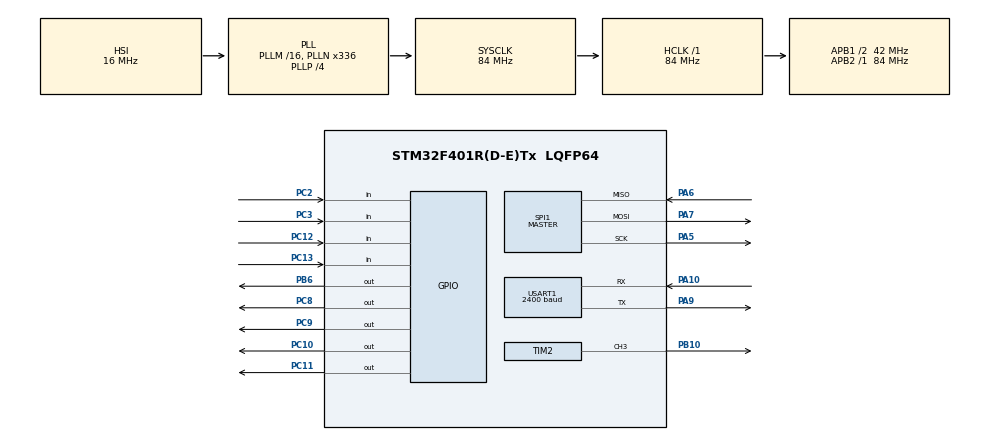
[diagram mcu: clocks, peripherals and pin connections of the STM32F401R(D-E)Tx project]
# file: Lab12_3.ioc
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Dma.Request0=SPI1_TX
Dma.SPI1_TX.0.Direction=DMA_MEMORY_TO_PERIPH
Dma.SPI1_TX.0.FIFOMode=DMA_FIFOMODE_DISABLE
Dma.SPI1_TX.0.Instance=DMA2_Stream3
Dma.SPI1_TX.0.MemDataAlignment=DMA_MDATAALIGN_BYTE
Dma.SPI1_TX.0.MemInc=DMA_MINC_ENABLE
Dma.SPI1_TX.0.Mode=DMA_NORMAL
Dma.SPI1_TX.0.PeriphDataAlignment=DMA_PDATAALIGN_BYTE
Dma.SPI1_TX.0.PeriphInc=DMA_PINC_DISABLE
Dma.SPI1_TX.0.Priority=DMA_PRIORITY_LOW
Mcu.Family=STM32F4
Mcu.Name=STM32F401R(D-E)Tx
Mcu.Package=LQFP64
NVIC.DMA2_Stream3_IRQn=true\:0\:0\:false\:false\:true\:false\:true\:true
NVIC.PriorityGroup=NVIC_PRIORITYGROUP_4
NVIC.SPI1_IRQn=true\:0\:0\:false\:false\:true\:true\:true\:true
NVIC.TIM3_IRQn=true\:2\:0\:true\:false\:true\:true\:true\:true
NVIC.TIM4_IRQn=true\:0\:0\:false\:false\:true\:true\:true\:true
NVIC.TIM5_IRQn=true\:1\:0\:true\:false\:true\:true\:true\:true
NVIC.USART1_IRQn=true\:0\:0\:false\:false\:true\:true\:true\:true
PA10.Mode=Asynchronous
PA10.Signal=USART1_RX
PA13.GPIO_Label=TMS
PA13.Mode=Trace_Asynchronous_SW
PA13.Signal=SYS_JTMS-SWDIO
PA14.GPIO_Label=TCK
PA14.Mode=Trace_Asynchronous_SW
PA14.Signal=SYS_JTCK-SWCLK
PA5.Mode=Full_Duplex_Master
PA5.Signal=SPI1_SCK
PA6.Mode=Full_Duplex_Master
PA6.Signal=SPI1_MISO
PA7.Mode=Full_Duplex_Master
PA7.Signal=SPI1_MOSI
PA9.Mode=Asynchronous
PA9.Signal=USART1_TX
PB10.Signal=S_TIM2_CH3
PB3.GPIO_Label=SWO
PB3.Mode=Trace_Asynchronous_SW
PB3.Signal=SYS_JTDO-SWO
PB6.Signal=GPIO_Output
PC10.Signal=GPIO_Output
PC11.Signal=GPIO_Output
PC12.Signal=GPIO_Input
PC13-ANTI_TAMP.Signal=GPIO_Input
PC14-OSC32_IN.Mode=LSE-External-Oscillator
PC14-OSC32_IN.Signal=RCC_OSC32_IN
PC15-OSC32_OUT.Mode=LSE-External-Oscillator
PC15-OSC32_OUT.Signal=RCC_OSC32_OUT
PC2.Signal=GPIO_Input
PC3.Signal=GPIO_Input
PC8.Signal=GPIO_Output
PC9.Signal=GPIO_Output
PH0\ -\ OSC_IN.Mode=HSE-External-Clock-Source
PH0\ -\ OSC_IN.Signal=RCC_OSC_IN
PH1\ -\ OSC_OUT.Mode=HSE-External-Clock-Source
PH1\ -\ OSC_OUT.Signal=RCC_OSC_OUT
ProjectManager.HeapSize=0x200
ProjectManager.StackSize=0x400
ProjectManager.TargetToolchain=STM32CubeIDE
RCC.48MHZClocksFreq_Value=48000000
RCC.AHBFreq_Value=84000000
RCC.APB1CLKDivider=RCC_HCLK_DIV2
RCC.APB1Freq_Value=42000000
RCC.APB1TimFreq_Value=84000000
RCC.APB2Freq_Value=84000000
RCC.APB2TimFreq_Value=84000000
RCC.CortexFreq_Value=84000000
RCC.HCLKFreq_Value=84000000
RCC.HSE_VALUE=8000000
RCC.HSI_VALUE=16000000
RCC.PLLN=336
RCC.PLLP=RCC_PLLP_DIV4
RCC.PLLQ=7
RCC.SYSCLKFreq_VALUE=84000000
RCC.SYSCLKSource=RCC_SYSCLKSOURCE_PLLCLK
RCC.VCOOutputFreq_Value=336000000
SH.S_TIM2_CH3.0=TIM2_CH3,PWM Generation3 CH3
SPI1.BaudRatePrescaler=SPI_BAUDRATEPRESCALER_4
SPI1.Direction=SPI_DIRECTION_2LINES
SPI1.Mode=SPI_MODE_MASTER
SPI1.VirtualType=VM_MASTER
TIM2.Channel-PWM\ Generation3\ CH3=TIM_CHANNEL_3
TIM2.Period=2210
TIM2.Pulse-PWM\ Generation3\ CH3=1105
TIM3.Period=3359
TIM3.Prescaler=99
TIM4.Period=349
TIM4.Prescaler=99
TIM5.Period=4199
TIM5.Prescaler=99
USART1.BaudRate=2400
USART1.VirtualMode=VM_ASYNC
VP_TIM3_VS_ClockSourceINT.Mode=Internal
VP_TIM4_VS_ClockSourceINT.Mode=Internal
VP_TIM5_VS_ClockSourceINT.Mode=Internal
board=NUCLEO-F401RE

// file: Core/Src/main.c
/* USER CODE BEGIN Header */
/**
  ******************************************************************************
  * @file           : main.c
  * @brief          : Main program body
  ******************************************************************************
  * @attention
  *
  * Copyright (c) 2026 STMicroelectronics.
  * All rights reserved.
  *
  * This software is licensed under terms that can be found in the LICENSE file
  * in the root directory of this software component.
  * If no LICENSE file comes with this software, it is provided AS-IS.
  *
  ******************************************************************************
  */
/* USER CODE END Header */
#include "main.h"

/* USER CODE BEGIN Includes */
#include "stdio.h"
#include "string.h"

/* USER CODE END Includes */

/* USER CODE BEGIN PTD */
typedef enum { KEY_IDLE, KEY_DEBOUNCE, KEY_SENT } KeyState;
typedef enum { TX_IDLE, TX_START, TX_DATA, TX_STOP } TxState;
/* USER CODE END PTD */

/* USER CODE BEGIN PD */
// --- Tastiera ---
#define N_ROWS       4
#define N_COLS       4
#define DEBOUNCE_MS  30
#define COL_PORT     GPIOC
#define ROW_PORT     GPIOC
// --- Matrice LED ---
#define NUM_COLS     5
#define BLANK        16          // indice del "carattere" spento in FONT
#define RCLK_PORT    GPIOB
#define RCLK_PIN     GPIO_PIN_6
// --- IR ---
#define IR_PULSE     1105        // CCR3 = (ARR+1)/2 -> duty 50% a 38 kHz
#define TXQ_SIZE     32          // coda di trasmissione (byte)
#define DEBUG_UART   0           // metti 1 se hai configurato USART2 (stampa su PuTTY)
/* USER CODE END PD */

SPI_HandleTypeDef hspi1;
DMA_HandleTypeDef hdma_spi1_tx;

TIM_HandleTypeDef htim2;
TIM_HandleTypeDef htim3;
TIM_HandleTypeDef htim4;
TIM_HandleTypeDef htim5;

UART_HandleTypeDef huart1;

/* USER CODE BEGIN PV */
// --- Tastiera (come Lab10) ---
volatile KeyState key_state[N_ROWS][N_COLS] = {{KEY_IDLE}};
volatile uint32_t press_start[N_ROWS][N_COLS] = {{0}};
volatile uint8_t  current_col = 0;
const uint16_t COL_PIN[N_COLS] = {GPIO_PIN_8, GPIO_PIN_9, GPIO_PIN_10, GPIO_PIN_11};
const uint16_t ROW_PIN[N_ROWS] = {GPIO_PIN_12, GPIO_PIN_13, GPIO_PIN_2, GPIO_PIN_3};
const char keymap[N_ROWS][N_COLS] = {
    {'0','1','2','3'},
    {'4','5','6','7'},
    {'8','9','A','B'},
    {'C','D','E','F'}
};

// --- Matrice LED (come Lab09): un byte "riga" per ognuna delle 5 colonne, bit6 = riga in alto ---
static const uint8_t COL_W[NUM_COLS] = {16, 8, 4, 2, 1};
static const uint8_t FONT[17][NUM_COLS] = {
    { 62,  69,  73,  81,  62}, // '0'
    {  0,  33, 127,   1,   0}, // '1'
    { 33,  67,  69,  73,  49}, // '2'
    { 34,  65,  73,  73,  54}, // '3'
    { 12,  20,  36, 127,   4}, // '4'
    {114,  81,  81,  81,  78}, // '5'
    { 30,  41,  73,  73,   6}, // '6'
    { 64,  71,  72,  80,  96}, // '7'
    { 54,  73,  73,  73,  54}, // '8'
    { 48,  73,  73,  74,  60}, // '9'
    { 63,  72,  72,  72,  63}, // 'A'
    {127,  73,  73,  73,  54}, // 'B'
    { 62,  65,  65,  65,  34}, // 'C'
    {127,  65,  65,  65,  62}, // 'D'
    {127,  73,  73,  73,  65}, // 'E'
    {127,  72,  72,  72,  64}, // 'F'
    {  0,   0,   0,   0,   0}  // spento
};
static volatile uint8_t sym_idx = BLANK;   // cosa mostra la matrice
static uint8_t col_cnt = 0;                // colonna della matrice in refresh

// --- Trasmettitore IR ---
static volatile TxState tx_state = TX_IDLE;
static volatile uint8_t tx_byte = 0;
static volatile uint8_t tx_bit_idx = 0;
static volatile uint8_t txq[TXQ_SIZE];
static volatile uint8_t txq_head = 0;      // scrive il main
static volatile uint8_t txq_tail = 0;      // legge la ISR di TIM4

// --- Ricevitore IR ---
static uint8_t rx_byte;                    // buffer per HAL_UART_Receive_IT
static volatile uint8_t rx_char = 0;       // ultimo byte ricevuto
static volatile uint8_t rx_new  = 0;       // flag "c'e' un byte nuovo"
/* USER CODE END PV */

void SystemClock_Config(void);
static void MX_GPIO_Init(void);
static void MX_DMA_Init(void);
static void MX_SPI1_Init(void);
static void MX_TIM2_Init(void);
static void MX_TIM3_Init(void);
static void MX_TIM4_Init(void);
static void MX_TIM5_Init(void);
static void MX_USART1_UART_Init(void);

/* USER CODE BEGIN 0 */
/* ---------------- IR TX ---------------- */
// Il PWM a 38 kHz resta sempre acceso: per "LED acceso" CCR3 = IR_PULSE, per "LED spento" CCR3 = 0
#define IR_ON()   __HAL_TIM_SET_COMPARE(&htim2, TIM_CHANNEL_3, IR_PULSE)
#define IR_OFF()  __HAL_TIM_SET_COMPARE(&htim2, TIM_CHANNEL_3, 0)

// bit '0' -> portante (LED pulsa); bit '1' -> LED spento
static inline void ir_write_bit(uint8_t bit)
{
    if (bit) IR_OFF(); else IR_ON();
}

// Inizia un frame: start bit = portante accesa subito
static void ir_start_frame(uint8_t b)
{
    tx_byte    = b;
    tx_bit_idx = 0;
    tx_state   = TX_START;
    IR_ON();
}

// Chiamata dalla ISR di TIM4 ogni 1/2400 s: passa al bit successivo
static void ir_tx_tick(void)
{
    switch (tx_state)
    {
    case TX_START:                              // e' finito lo start bit -> bit 0 (LSB)
        tx_bit_idx = 0;
        ir_write_bit(tx_byte & 1);
        tx_state = TX_DATA;
        break;

    case TX_DATA:
        tx_bit_idx++;
        if (tx_bit_idx < 8) {
            ir_write_bit((tx_byte >> tx_bit_idx) & 1);
        } else {                                // finiti gli 8 bit -> stop bit (LED spento)
            IR_OFF();
            tx_state = TX_STOP;
        }
        break;

    case TX_STOP:                               // e' finito lo stop bit
        if (txq_head != txq_tail) {             // c'e' un altro byte in coda: parte subito
            uint8_t b = txq[txq_tail];
            txq_tail = (txq_tail + 1) % TXQ_SIZE;
            ir_start_frame(b);
        } else {                                // altrimenti spegni il timer dei bit
            HAL_TIM_Base_Stop_IT(&htim4);
            tx_state = TX_IDLE;
        }
        break;

    default:
        break;
    }
}

// Step 1: invia un byte (non bloccante, salvo coda piena). Da chiamare dal main, NON da una ISR.
void IR_SendByte(uint8_t b)
{
    while (((txq_head + 1) % TXQ_SIZE) == txq_tail) { }   // coda piena: aspetta

    __disable_irq();                                      // evita la corsa con la ISR di TIM4
    if (tx_state == TX_IDLE) {
        ir_start_frame(b);
        __HAL_TIM_SET_COUNTER(&htim4, 0);
        __HAL_TIM_CLEAR_FLAG(&htim4, TIM_FLAG_UPDATE);    // niente interrupt spurio al primo start
        HAL_TIM_Base_Start_IT(&htim4);
    } else {
        txq[txq_head] = b;
        txq_head = (txq_head + 1) % TXQ_SIZE;
    }
    __enable_irq();
}

// Step 2: invia una stringa (un byte dopo l'altro)
void IR_SendString(const char *s)
{
    while (*s) IR_SendByte((uint8_t)*s++);
}

/* ---------------- Matrice LED (SPI + DMA) ---------------- */
static inline void spi_send(uint8_t col, uint8_t row)
{
    static uint8_t buffer[2];
    buffer[0] = row;     // daisy chain: prima la riga...
    buffer[1] = col;     // ...poi la colonna
    HAL_SPI_Transmit_DMA(&hspi1, buffer, 2);
}

void HAL_SPI_TxCpltCallback(SPI_HandleTypeDef *hspi)
{
    if (hspi->Instance == SPI1) {
        HAL_GPIO_WritePin(RCLK_PORT, RCLK_PIN, GPIO_PIN_SET);     // impulso su RCLK = latch
        HAL_GPIO_WritePin(RCLK_PORT, RCLK_PIN, GPIO_PIN_RESET);
    }
}

/* ---------------- Callback UNICA per tutti i timer ---------------- */
void HAL_TIM_PeriodElapsedCallback(TIM_HandleTypeDef *htim)
{
    if (htim->Instance == TIM3)                    // refresh matrice (4 ms)
    {
        spi_send(COL_W[col_cnt], FONT[sym_idx][col_cnt]);
        col_cnt = (col_cnt + 1) % NUM_COLS;
    }
    else if (htim->Instance == TIM4)               // tick del bit IR (1/2400 s)
    {
        ir_tx_tick();
    }
    else if (htim->Instance == TIM5)               // scansione tastiera (come Lab10)
    {
        for (int row = 0; row < N_ROWS; row++)
        {
            GPIO_PinState r = HAL_GPIO_ReadPin(ROW_PORT, ROW_PIN[row]);
            if (r == GPIO_PIN_RESET)               // riga bassa -> tasto premuto
            {
                if (key_state[row][current_col] == KEY_IDLE)
                {
                    key_state[row][current_col] = KEY_DEBOUNCE;
                    press_start[row][current_col] = HAL_GetTick();
                }
            }
            else
            {
                key_state[row][current_col] = KEY_IDLE;
            }
        }
        HAL_GPIO_WritePin(COL_PORT, COL_PIN[current_col], GPIO_PIN_RESET);   // colonna corrente OFF
        current_col = (current_col + 1) % N_COLS;
        HAL_GPIO_WritePin(COL_PORT, COL_PIN[current_col], GPIO_PIN_SET);     // prossima colonna ON
    }
}

/* ---------------- IR RX (USART1, 1 byte per volta in interrupt) ---------------- */
void HAL_UART_RxCpltCallback(UART_HandleTypeDef *huart)
{
    if (huart->Instance == USART1) {
        rx_char = rx_byte;
        rx_new  = 1;
        HAL_UART_Receive_IT(&huart1, &rx_byte, 1);       // riavvia subito la ricezione
    }
}

// Rumore sul canale IR -> framing/noise error: la HAL puo' interrompere la ricezione, quindi la riavvio
void HAL_UART_ErrorCallback(UART_HandleTypeDef *huart)
{
    if (huart->Instance == USART1) {
        HAL_UART_Receive_IT(&huart1, &rx_byte, 1);       // se e' ancora attiva ritorna solo HAL_BUSY
    }
}

/* ---------------- Utility ---------------- */
// '0'..'9' -> 0..9, 'A'..'F' -> 10..15, altro -> 0xFF (ignorato)
static uint8_t char_to_glyph(uint8_t c)
{
    if (c >= '0' && c <= '9') return c - '0';
    if (c >= 'A' && c <= 'F') return c - 'A' + 10;
    return 0xFF;
}

#if DEBUG_UART
static void debug_print(const char *tag, char c)
{
    char buf[16];
    int n = sprintf(buf, "%s %c\r\n", tag, c);
    HAL_UART_Transmit(&huart2, (uint8_t*)buf, n, 50);
}
#endif
/* USER CODE END 0 */

int main(void)
{

  /* MCU Configuration--------------------------------------------------------*/

  /* Reset of all peripherals, Initializes the Flash interface and the Systick. */
  HAL_Init();

  /* Configure the system clock */
  SystemClock_Config();

  /* Initialize all configured peripherals */
  MX_GPIO_Init();
  MX_DMA_Init();
  MX_SPI1_Init();
  MX_TIM2_Init();
  MX_TIM3_Init();
  MX_TIM4_Init();
  MX_TIM5_Init();
  MX_USART1_UART_Init();
  /* USER CODE BEGIN 2 */
  // Matrice
  HAL_TIM_Base_Start_IT(&htim3);

  // Tastiera: colonna 0 attiva (SET = transistor ON = colonna a GND), le altre spente
  HAL_GPIO_WritePin(COL_PORT, COL_PIN[0], GPIO_PIN_SET);
  for (int i = 1; i < N_COLS; i++) {
	  HAL_GPIO_WritePin(COL_PORT, COL_PIN[i], GPIO_PIN_RESET);
  }
  HAL_TIM_Base_Start_IT(&htim5);

  // IR: PWM a 38 kHz sempre acceso ma con CCR=0 (LED spento). TIM4 parte solo quando si trasmette
  IR_OFF();
  HAL_TIM_PWM_Start(&htim2, TIM_CHANNEL_3);
  HAL_UART_Receive_IT(&huart1, &rx_byte, 1);

  /* USER CODE END 2 */

  /* Infinite loop */
  while (1)
  {

    /* USER CODE BEGIN 3 */
	// 1) tastiera -> IR
	for (int row = 0; row < N_ROWS; row++)
	{
		for (int col = 0; col < N_COLS; col++)
		{
			if (key_state[row][col] == KEY_DEBOUNCE &&
				(HAL_GetTick() - press_start[row][col]) >= DEBOUNCE_MS)
			{
				key_state[row][col] = KEY_SENT;              // non reinviare finche' e' premuto
				IR_SendByte((uint8_t)keymap[row][col]);
#if DEBUG_UART
				debug_print("TX", keymap[row][col]);
#endif
			}
		}
	}

	// 2) IR -> matrice LED
	if (rx_new)
	{
		uint8_t c = rx_char;
		rx_new = 0;
		uint8_t g = char_to_glyph(c);
		if (g != 0xFF) sym_idx = g;
#if DEBUG_UART
		debug_print("RX", (char)c);
#endif
	    }
  }
  /* USER CODE END 3 */
}

void SystemClock_Config(void)
{
  RCC_OscInitTypeDef RCC_OscInitStruct = {0};
  RCC_ClkInitTypeDef RCC_ClkInitStruct = {0};

  /** Configure the main internal regulator output voltage
  */
  __HAL_RCC_PWR_CLK_ENABLE();
  __HAL_PWR_VOLTAGESCALING_CONFIG(PWR_REGULATOR_VOLTAGE_SCALE2);

  /** Initializes the RCC Oscillators according to the specified parameters
  * in the RCC_OscInitTypeDef structure.
  */
  RCC_OscInitStruct.OscillatorType = RCC_OSCILLATORTYPE_HSI;
  RCC_OscInitStruct.HSIState = RCC_HSI_ON;
  RCC_OscInitStruct.HSICalibrationValue = RCC_HSICALIBRATION_DEFAULT;
  RCC_OscInitStruct.PLL.PLLState = RCC_PLL_ON;
  RCC_OscInitStruct.PLL.PLLSource = RCC_PLLSOURCE_HSI;
  RCC_OscInitStruct.PLL.PLLM = 16;
  RCC_OscInitStruct.PLL.PLLN = 336;
  RCC_OscInitStruct.PLL.PLLP = RCC_PLLP_DIV4;
  RCC_OscInitStruct.PLL.PLLQ = 7;
  if (HAL_RCC_OscConfig(&RCC_OscInitStruct) != HAL_OK)
  {
    Error_Handler();
  }

  /** Initializes the CPU, AHB and APB buses clocks
  */
  RCC_ClkInitStruct.ClockType = RCC_CLOCKTYPE_HCLK|RCC_CLOCKTYPE_SYSCLK
                              |RCC_CLOCKTYPE_PCLK1|RCC_CLOCKTYPE_PCLK2;
  RCC_ClkInitStruct.SYSCLKSource = RCC_SYSCLKSOURCE_PLLCLK;
  RCC_ClkInitStruct.AHBCLKDivider = RCC_SYSCLK_DIV1;
  RCC_ClkInitStruct.APB1CLKDivider = RCC_HCLK_DIV2;
  RCC_ClkInitStruct.APB2CLKDivider = RCC_HCLK_DIV1;

  if (HAL_RCC_ClockConfig(&RCC_ClkInitStruct, FLASH_LATENCY_2) != HAL_OK)
  {
    Error_Handler();
  }
}

static void MX_SPI1_Init(void)
{

  /* SPI1 parameter configuration*/
  hspi1.Instance = SPI1;
  hspi1.Init.Mode = SPI_MODE_MASTER;
  hspi1.Init.Direction = SPI_DIRECTION_2LINES;
  hspi1.Init.DataSize = SPI_DATASIZE_8BIT;
  hspi1.Init.CLKPolarity = SPI_POLARITY_LOW;
  hspi1.Init.CLKPhase = SPI_PHASE_1EDGE;
  hspi1.Init.NSS = SPI_NSS_SOFT;
  hspi1.Init.BaudRatePrescaler = SPI_BAUDRATEPRESCALER_4;
  hspi1.Init.FirstBit = SPI_FIRSTBIT_MSB;
  hspi1.Init.TIMode = SPI_TIMODE_DISABLE;
  hspi1.Init.CRCCalculation = SPI_CRCCALCULATION_DISABLE;
  hspi1.Init.CRCPolynomial = 10;
  if (HAL_SPI_Init(&hspi1) != HAL_OK)
  {
    Error_Handler();
  }

}

static void MX_TIM2_Init(void)
{

  TIM_MasterConfigTypeDef sMasterConfig = {0};
  TIM_OC_InitTypeDef sConfigOC = {0};

  htim2.Instance = TIM2;
  htim2.Init.Prescaler = 0;
  htim2.Init.CounterMode = TIM_COUNTERMODE_UP;
  htim2.Init.Period = 2210;
  htim2.Init.ClockDivision = TIM_CLOCKDIVISION_DIV1;
  htim2.Init.AutoReloadPreload = TIM_AUTORELOAD_PRELOAD_DISABLE;
  if (HAL_TIM_PWM_Init(&htim2) != HAL_OK)
  {
    Error_Handler();
  }
  sMasterConfig.MasterOutputTrigger = TIM_TRGO_RESET;
  sMasterConfig.MasterSlaveMode = TIM_MASTERSLAVEMODE_DISABLE;
  if (HAL_TIMEx_MasterConfigSynchronization(&htim2, &sMasterConfig) != HAL_OK)
  {
    Error_Handler();
  }
  sConfigOC.OCMode = TIM_OCMODE_PWM1;
  sConfigOC.Pulse = 1105;
  sConfigOC.OCPolarity = TIM_OCPOLARITY_HIGH;
  sConfigOC.OCFastMode = TIM_OCFAST_DISABLE;
  if (HAL_TIM_PWM_ConfigChannel(&htim2, &sConfigOC, TIM_CHANNEL_3) != HAL_OK)
  {
    Error_Handler();
  }
  HAL_TIM_MspPostInit(&htim2);

}

static void MX_TIM3_Init(void)
{

  TIM_ClockConfigTypeDef sClockSourceConfig = {0};
  TIM_MasterConfigTypeDef sMasterConfig = {0};

  htim3.Instance = TIM3;
  htim3.Init.Prescaler = 99;
  htim3.Init.CounterMode = TIM_COUNTERMODE_UP;
  htim3.Init.Period = 3359;
  htim3.Init.ClockDivision = TIM_CLOCKDIVISION_DIV1;
  htim3.Init.AutoReloadPreload = TIM_AUTORELOAD_PRELOAD_DISABLE;
  if (HAL_TIM_Base_Init(&htim3) != HAL_OK)
  {
    Error_Handler();
  }
  sClockSourceConfig.ClockSource = TIM_CLOCKSOURCE_INTERNAL;
  if (HAL_TIM_ConfigClockSource(&htim3, &sClockSourceConfig) != HAL_OK)
  {
    Error_Handler();
  }
  sMasterConfig.MasterOutputTrigger = TIM_TRGO_RESET;
  sMasterConfig.MasterSlaveMode = TIM_MASTERSLAVEMODE_DISABLE;
  if (HAL_TIMEx_MasterConfigSynchronization(&htim3, &sMasterConfig) != HAL_OK)
  {
    Error_Handler();
  }

}

static void MX_TIM4_Init(void)
{

  TIM_ClockConfigTypeDef sClockSourceConfig = {0};
  TIM_MasterConfigTypeDef sMasterConfig = {0};

  htim4.Instance = TIM4;
  htim4.Init.Prescaler = 99;
  htim4.Init.CounterMode = TIM_COUNTERMODE_UP;
  htim4.Init.Period = 349;
  htim4.Init.ClockDivision = TIM_CLOCKDIVISION_DIV1;
  htim4.Init.AutoReloadPreload = TIM_AUTORELOAD_PRELOAD_DISABLE;
  if (HAL_TIM_Base_Init(&htim4) != HAL_OK)
  {
    Error_Handler();
  }
  sClockSourceConfig.ClockSource = TIM_CLOCKSOURCE_INTERNAL;
  if (HAL_TIM_ConfigClockSource(&htim4, &sClockSourceConfig) != HAL_OK)
  {
    Error_Handler();
  }
  sMasterConfig.MasterOutputTrigger = TIM_TRGO_RESET;
  sMasterConfig.MasterSlaveMode = TIM_MASTERSLAVEMODE_DISABLE;
  if (HAL_TIMEx_MasterConfigSynchronization(&htim4, &sMasterConfig) != HAL_OK)
  {
    Error_Handler();
  }

}

static void MX_TIM5_Init(void)
{

  TIM_ClockConfigTypeDef sClockSourceConfig = {0};
  TIM_MasterConfigTypeDef sMasterConfig = {0};

  htim5.Instance = TIM5;
  htim5.Init.Prescaler = 99;
  htim5.Init.CounterMode = TIM_COUNTERMODE_UP;
  htim5.Init.Period = 4199;
  htim5.Init.ClockDivision = TIM_CLOCKDIVISION_DIV1;
  htim5.Init.AutoReloadPreload = TIM_AUTORELOAD_PRELOAD_DISABLE;
  if (HAL_TIM_Base_Init(&htim5) != HAL_OK)
  {
    Error_Handler();
  }
  sClockSourceConfig.ClockSource = TIM_CLOCKSOURCE_INTERNAL;
  if (HAL_TIM_ConfigClockSource(&htim5, &sClockSourceConfig) != HAL_OK)
  {
    Error_Handler();
  }
  sMasterConfig.MasterOutputTrigger = TIM_TRGO_RESET;
  sMasterConfig.MasterSlaveMode = TIM_MASTERSLAVEMODE_DISABLE;
  if (HAL_TIMEx_MasterConfigSynchronization(&htim5, &sMasterConfig) != HAL_OK)
  {
    Error_Handler();
  }

}

static void MX_USART1_UART_Init(void)
{

  huart1.Instance = USART1;
  huart1.Init.BaudRate = 2400;
  huart1.Init.WordLength = UART_WORDLENGTH_8B;
  huart1.Init.StopBits = UART_STOPBITS_1;
  huart1.Init.Parity = UART_PARITY_NONE;
  huart1.Init.Mode = UART_MODE_TX_RX;
  huart1.Init.HwFlowCtl = UART_HWCONTROL_NONE;
  huart1.Init.OverSampling = UART_OVERSAMPLING_16;
  if (HAL_UART_Init(&huart1) != HAL_OK)
  {
    Error_Handler();
  }

}

static void MX_DMA_Init(void)
{

  /* DMA controller clock enable */
  __HAL_RCC_DMA2_CLK_ENABLE();

  /* DMA interrupt init */
  /* DMA2_Stream3_IRQn interrupt configuration */
  HAL_NVIC_SetPriority(DMA2_Stream3_IRQn, 0, 0);
  HAL_NVIC_EnableIRQ(DMA2_Stream3_IRQn);

}

static void MX_GPIO_Init(void)
{
  GPIO_InitTypeDef GPIO_InitStruct = {0};

  /* GPIO Ports Clock Enable */
  __HAL_RCC_GPIOC_CLK_ENABLE();
  __HAL_RCC_GPIOH_CLK_ENABLE();
  __HAL_RCC_GPIOA_CLK_ENABLE();
  __HAL_RCC_GPIOB_CLK_ENABLE();

  /*Configure GPIO pin Output Level */
  HAL_GPIO_WritePin(GPIOC, GPIO_PIN_8|GPIO_PIN_9|GPIO_PIN_10|GPIO_PIN_11, GPIO_PIN_RESET);

  /*Configure GPIO pin Output Level */
  HAL_GPIO_WritePin(GPIOB, GPIO_PIN_6, GPIO_PIN_RESET);

  /*Configure GPIO pins : PC13 PC2 PC3 PC12 */
  GPIO_InitStruct.Pin = GPIO_PIN_13|GPIO_PIN_2|GPIO_PIN_3|GPIO_PIN_12;
  GPIO_InitStruct.Mode = GPIO_MODE_INPUT;
  GPIO_InitStruct.Pull = GPIO_NOPULL;
  HAL_GPIO_Init(GPIOC, &GPIO_InitStruct);

  /*Configure GPIO pins : PC8 PC9 PC10 PC11 */
  GPIO_InitStruct.Pin = GPIO_PIN_8|GPIO_PIN_9|GPIO_PIN_10|GPIO_PIN_11;
  GPIO_InitStruct.Mode = GPIO_MODE_OUTPUT_PP;
  GPIO_InitStruct.Pull = GPIO_NOPULL;
  GPIO_InitStruct.Speed = GPIO_SPEED_FREQ_LOW;
  HAL_GPIO_Init(GPIOC, &GPIO_InitStruct);

  /*Configure GPIO pin : PB6 */
  GPIO_InitStruct.Pin = GPIO_PIN_6;
  GPIO_InitStruct.Mode = GPIO_MODE_OUTPUT_PP;
  GPIO_InitStruct.Pull = GPIO_NOPULL;
  GPIO_InitStruct.Speed = GPIO_SPEED_FREQ_LOW;
  HAL_GPIO_Init(GPIOB, &GPIO_InitStruct);

}

void Error_Handler(void)
{
  __disable_irq();
  while (1)
  {
  }
}
